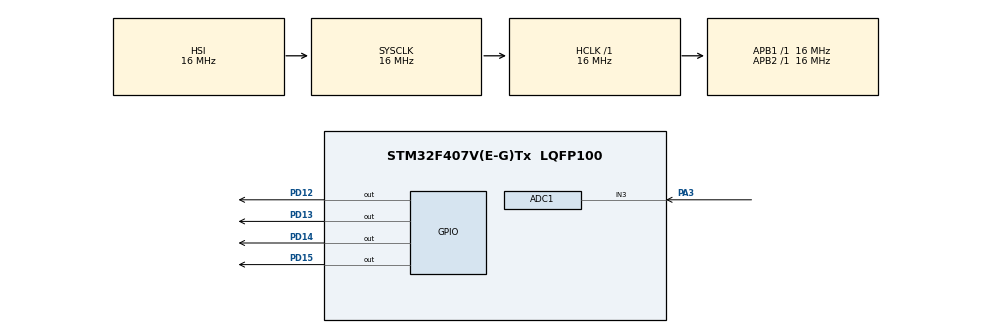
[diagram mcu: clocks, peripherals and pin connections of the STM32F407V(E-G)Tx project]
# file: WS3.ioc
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ADC1.Channel-0\#ChannelRegularConversion=ADC_CHANNEL_3
ADC1.ClockPrescaler=ADC_CLOCK_SYNC_PCLK_DIV8
ADC1.NbrOfConversionFlag=1
ADC1.Rank-0\#ChannelRegularConversion=1
ADC1.SamplingTime-0\#ChannelRegularConversion=ADC_SAMPLETIME_480CYCLES
ADC1.master=1
Mcu.Family=STM32F4
Mcu.Name=STM32F407V(E-G)Tx
Mcu.Package=LQFP100
NVIC.ADC_IRQn=true\:0\:0\:false\:false\:true\:true\:true\:true
NVIC.PriorityGroup=NVIC_PRIORITYGROUP_4
PA3.Signal=ADCx_IN3
PD12.Signal=GPIO_Output
PD13.Signal=GPIO_Output
PD14.Signal=GPIO_Output
PD15.Signal=GPIO_Output
ProjectManager.HeapSize=0x200
ProjectManager.StackSize=0x400
ProjectManager.TargetToolchain=STM32CubeIDE
RCC.AHBFreq_Value=16000000
RCC.APB1Freq_Value=16000000
RCC.APB2Freq_Value=16000000
RCC.CortexFreq_Value=16000000
RCC.HSE_VALUE=25000000
RCC.HSI_VALUE=16000000
RCC.LSE_VALUE=32768
RCC.SYSCLKFreq_VALUE=16000000
RCC.VCOOutputFreq_Value=192000000
SH.ADCx_IN3.0=ADC1_IN3,IN3
board=custom

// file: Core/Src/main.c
/* USER CODE BEGIN Header */
/**
  ******************************************************************************
  * @file           : main.c
  * @brief          : Main program body
  ******************************************************************************
  * @attention
  *
  * Copyright (c) 2026 STMicroelectronics.
  * All rights reserved.
  *
  * This software is licensed under terms that can be found in the LICENSE file
  * in the root directory of this software component.
  * If no LICENSE file comes with this software, it is provided AS-IS.
  *
  ******************************************************************************
  */
/* USER CODE END Header */
#include "main.h"

ADC_HandleTypeDef hadc1;

/* USER CODE BEGIN PV */

//variables for debug
uint32_t adcSum = 0;
uint16_t adcCount = 0;
float voltage = 0;
uint32_t adcAvarage = 0;

/* USER CODE END PV */

void SystemClock_Config(void);
static void MX_GPIO_Init(void);
static void MX_ADC1_Init(void);

/* USER CODE BEGIN 0 */
void HAL_ADC_ConvCpltCallback(ADC_HandleTypeDef* hadc)
{
    // Check if interrupt triggered by ADC1
    if(hadc->Instance == ADC1)
    {
      // Add current reading to sum and increment counter
      adcSum += HAL_ADC_GetValue(hadc);
      adcCount++;

    // Process every 256 samples
    if(adcCount >= 256)
    {
      // Calculate average using bit shift (division by 256)
      adcAvarage = adcSum >> 8;

      // Convert raw average to voltage
      voltage = (adcAvarage * 3.3f) / 4095.0f;

      // Logic for LED switching based on midpoint
      if (adcAvarage < 2048) {
        HAL_GPIO_WritePin(GPIOD, GPIO_PIN_14, GPIO_PIN_SET);
        HAL_GPIO_WritePin(GPIOD, GPIO_PIN_12, GPIO_PIN_SET);
        HAL_GPIO_WritePin(GPIOD, GPIO_PIN_13, GPIO_PIN_RESET);
        HAL_GPIO_WritePin(GPIOD, GPIO_PIN_15, GPIO_PIN_RESET);
      } else {
        HAL_GPIO_WritePin(GPIOD, GPIO_PIN_13, GPIO_PIN_SET);
        HAL_GPIO_WritePin(GPIOD, GPIO_PIN_15, GPIO_PIN_SET);
        HAL_GPIO_WritePin(GPIOD, GPIO_PIN_14, GPIO_PIN_RESET);
        HAL_GPIO_WritePin(GPIOD, GPIO_PIN_12, GPIO_PIN_RESET);
      }

      // Reset variables
      adcSum = 0;
      adcCount = 0;
    }

        // Restart ADC
        HAL_ADC_Start_IT(hadc);
  }
}
/* USER CODE END 0 */

int main(void)
{

  /* MCU Configuration--------------------------------------------------------*/

  /* Reset of all peripherals, Initializes the Flash interface and the Systick. */
  HAL_Init();

  /* Configure the system clock */
  SystemClock_Config();

  /* Initialize all configured peripherals */
  MX_GPIO_Init();
  MX_ADC1_Init();

  /* Infinite loop */
  /* USER CODE BEGIN WHILE */

  // Initial ADC start
  HAL_ADC_Start_IT(&hadc1);

  while (1)
  {
    /* USER CODE END WHILE */

  }
}

void SystemClock_Config(void)
{
  RCC_OscInitTypeDef RCC_OscInitStruct = {0};
  RCC_ClkInitTypeDef RCC_ClkInitStruct = {0};

  /** Configure the main internal regulator output voltage
  */
  __HAL_RCC_PWR_CLK_ENABLE();
  __HAL_PWR_VOLTAGESCALING_CONFIG(PWR_REGULATOR_VOLTAGE_SCALE1);

  /** Initializes the RCC Oscillators according to the specified parameters
  * in the RCC_OscInitTypeDef structure.
  */
  RCC_OscInitStruct.OscillatorType = RCC_OSCILLATORTYPE_HSI;
  RCC_OscInitStruct.HSIState = RCC_HSI_ON;
  RCC_OscInitStruct.HSICalibrationValue = RCC_HSICALIBRATION_DEFAULT;
  RCC_OscInitStruct.PLL.PLLState = RCC_PLL_NONE;
  if (HAL_RCC_OscConfig(&RCC_OscInitStruct) != HAL_OK)
  {
    Error_Handler();
  }

  /** Initializes the CPU, AHB and APB buses clocks
  */
  RCC_ClkInitStruct.ClockType = RCC_CLOCKTYPE_HCLK|RCC_CLOCKTYPE_SYSCLK
                              |RCC_CLOCKTYPE_PCLK1|RCC_CLOCKTYPE_PCLK2;
  RCC_ClkInitStruct.SYSCLKSource = RCC_SYSCLKSOURCE_HSI;
  RCC_ClkInitStruct.AHBCLKDivider = RCC_SYSCLK_DIV1;
  RCC_ClkInitStruct.APB1CLKDivider = RCC_HCLK_DIV1;
  RCC_ClkInitStruct.APB2CLKDivider = RCC_HCLK_DIV1;

  if (HAL_RCC_ClockConfig(&RCC_ClkInitStruct, FLASH_LATENCY_0) != HAL_OK)
  {
    Error_Handler();
  }
}

static void MX_ADC1_Init(void)
{

  ADC_ChannelConfTypeDef sConfig = {0};

  /** Configure the global features of the ADC (Clock, Resolution, Data Alignment and number of conversion)
  */
  hadc1.Instance = ADC1;
  hadc1.Init.ClockPrescaler = ADC_CLOCK_SYNC_PCLK_DIV8;
  hadc1.Init.Resolution = ADC_RESOLUTION_12B;
  hadc1.Init.ScanConvMode = DISABLE;
  hadc1.Init.ContinuousConvMode = DISABLE;
  hadc1.Init.DiscontinuousConvMode = DISABLE;
  hadc1.Init.ExternalTrigConvEdge = ADC_EXTERNALTRIGCONVEDGE_NONE;
  hadc1.Init.ExternalTrigConv = ADC_SOFTWARE_START;
  hadc1.Init.DataAlign = ADC_DATAALIGN_RIGHT;
  hadc1.Init.NbrOfConversion = 1;
  hadc1.Init.DMAContinuousRequests = DISABLE;
  hadc1.Init.EOCSelection = ADC_EOC_SINGLE_CONV;
  if (HAL_ADC_Init(&hadc1) != HAL_OK)
  {
    Error_Handler();
  }

  /** Configure for the selected ADC regular channel its corresponding rank in the sequencer and its sample time.
  */
  sConfig.Channel = ADC_CHANNEL_3;
  sConfig.Rank = 1;
  sConfig.SamplingTime = ADC_SAMPLETIME_480CYCLES;
  if (HAL_ADC_ConfigChannel(&hadc1, &sConfig) != HAL_OK)
  {
    Error_Handler();
  }

}

static void MX_GPIO_Init(void)
{
  GPIO_InitTypeDef GPIO_InitStruct = {0};

  /* GPIO Ports Clock Enable */
  __HAL_RCC_GPIOA_CLK_ENABLE();
  __HAL_RCC_GPIOD_CLK_ENABLE();

  /*Configure GPIO pin Output Level */
  HAL_GPIO_WritePin(GPIOD, GPIO_PIN_12|GPIO_PIN_13|GPIO_PIN_14|GPIO_PIN_15, GPIO_PIN_RESET);

  /*Configure GPIO pins : PD12 PD13 PD14 PD15 */
  GPIO_InitStruct.Pin = GPIO_PIN_12|GPIO_PIN_13|GPIO_PIN_14|GPIO_PIN_15;
  GPIO_InitStruct.Mode = GPIO_MODE_OUTPUT_PP;
  GPIO_InitStruct.Pull = GPIO_NOPULL;
  GPIO_InitStruct.Speed = GPIO_SPEED_FREQ_LOW;
  HAL_GPIO_Init(GPIOD, &GPIO_InitStruct);

}

void Error_Handler(void)
{
  __disable_irq();
  while (1)
  {
  }
}
